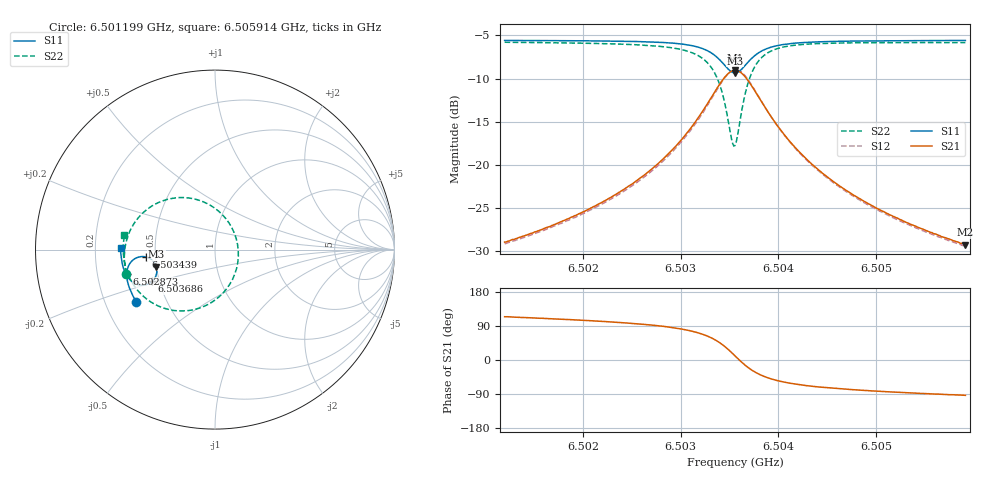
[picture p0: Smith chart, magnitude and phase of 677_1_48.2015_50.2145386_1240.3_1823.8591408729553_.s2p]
#  HZ  S  RI  R  50.00
! Rohde & Schwarz Vector Network Analyzer
! Rohde-Schwarz,ZNB20-2Port,1311601062101988,3.16
! Created: UTC 3/20/2024, 12:06:22 PM
! freq[Hz]  re:S11  im:S11  re:S21  im:S21  re:S12  im:S12  re:S22  im:S22
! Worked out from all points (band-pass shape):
!   401 points, 6.501199 GHz to 6.505914 GHz, reference 50 ohm
!   highest |S21| = -9.04 dB at 6.503557 GHz (marker M1); lowest = -29.2 dB at 6.505914 GHz (marker M2)
!   |S21| within 3 dB of the highest: 6.503322 GHz to 6.503794 GHz (471.8 kHz wide, 0.00725 % of centre)
!   lowest |S11| = -9.3 dB at 6.503557 GHz (marker M3), VSWR 2.03, Z = 25 - j5.4 ohm
!   |S11| at or under -10 dB: nowhere
!   |S22| runs from -17.8 to -5.8 dB; largest |S21 - S12| = 0.014
!   S11 on the Smith chart (normalised r, x): 6.501199 GHz: 0.34, -0.27; 6.502873 GHz: 0.33, -0.12; 6.503439 GHz: 0.44, -0.04; 6.503686 GHz: 0.46, -0.19; 6.505914 GHz: 0.31, +0.01
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6.5011993e9  -0.4385 -0.2905  -0.0147 0.0327  -0.0127 0.0326  -0.4961 -0.1333
6.501989e9  -0.4704 -0.23  -0.0136 0.0513  -0.0109 0.0508  -0.5052 -0.0454
6.5024016e9  -0.4839 -0.1921  -0.0106 0.0705  -0.00705 0.0691  -0.5004 0.0163
6.5027788e9  -0.4915 -0.1485  -7.39e-05 0.103  0.00406 0.1002  -0.4771 0.0967
6.5028731e9  -0.4916 -0.1349  0.00574 0.1156  0.0102 0.1123  -0.464 0.1233
6.5030735e9  -0.4856 -0.1005  0.0309 0.152  0.0354 0.147  -0.4121 0.1941
6.5032149e9  -0.4689 -0.0701  0.0726 0.1871  0.076 0.1803  -0.3316 0.254
6.5033446e9  -0.4313 -0.0433  0.1527 0.2134  0.1541 0.2059  -0.1861 0.29
6.5034389e9  -0.3829 -0.0414  0.2474 0.1956  0.2482 0.1896  -0.0221 0.2446
6.5035214e9  -0.3383 -0.0724  0.3286 0.1178  0.3315 0.112  0.108 0.0911
6.5035568e9  -0.3272 -0.0956  0.3467 0.0671  0.3508 0.0599  0.1296 -0.00432
6.5035804e9  -0.3241 -0.1126  0.3504 0.0309  0.3546 0.0223  0.1271 -0.0709
6.5036157e9  -0.3265 -0.1378  0.3425 -0.0213  0.3462 -0.0322  0.0986 -0.164
6.5036864e9  -0.3498 -0.1768  0.2934 -0.1009  0.293 -0.1145  -0.017 -0.293
6.5037807e9  -0.3924 -0.1974  0.2118 -0.1458  0.2057 -0.1575  -0.1841 -0.3419
6.5038515e9  -0.4196 -0.1972  0.1619 -0.151  0.154 -0.1602  -0.2771 -0.3285
6.503934e9  -0.4436 -0.1899  0.1196 -0.1446  0.1113 -0.151  -0.3513 -0.2955
6.504099e9  -0.4733 -0.1685  0.0699 -0.1225  0.0623 -0.1253  -0.4323 -0.2256
6.5043465e9  -0.4961 -0.1371  0.0356 -0.0944  0.0301 -0.095  -0.4814 -0.1453
6.5046766e9  -0.511 -0.1009  0.0166 -0.0703  0.0125 -0.0702  -0.5039 -0.0729
6.5051363e9  -0.5209 -0.0571  0.00548 -0.0514  0.00265 -0.0506  -0.5114 -0.00272
6.5059143e9  -0.5258 0.00972  -0.00199 -0.0346  -0.00346 -0.0337  -0.5045 0.0835
